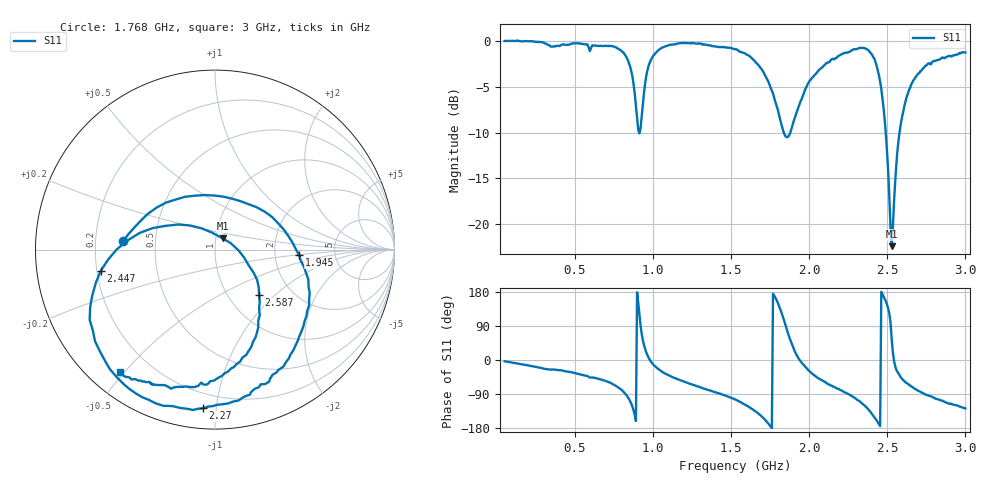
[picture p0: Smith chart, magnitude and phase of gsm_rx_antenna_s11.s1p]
! nanovna_capture.py 2026-10-18T20:22:30+0900
! NanoVNA-F_V2 fw 0.6.0 SN 4A3639384505514B
! cal: load open short thru cal'ed  over 50000000-3000000000 Hz, 201 points
! points 401, avg 4
! GSM 'BTS' antenna (receive antenna for S21 tests) on port-1 cable, held in free air
# HZ S RI R 50
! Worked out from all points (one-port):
!   401 points, 50 MHz to 3 GHz, reference 50 ohm
!   lowest |S11| = -22.4 dB at 2.528 GHz (marker M1), VSWR 1.16, Z = 54 + j6.85 ohm
!   |S11| at or under -10 dB: 911.2788 MHz to 914.0651 MHz (2.786 MHz wide, 0.305 % of centre); 1.838 GHz to 1.879 GHz (41.88 MHz wide, 2.25 % of centre); 2.49 GHz to 2.578 GHz (88.26 MHz wide, 3.48 % of centre)
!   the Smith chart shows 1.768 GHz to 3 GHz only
!   S11 on the Smith chart (normalised r, x): 1.768 GHz: 0.32, +0.04; 1.945 GHz: 2.75, -0.22; 2.27 GHz: 0.11, -0.92; 2.447 GHz: 0.22, -0.09; 2.587 GHz: 1.38, -0.80; 3 GHz: 0.09, -0.49
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5e7  0.9969 -0.0592
4.1875e8  0.8451 -0.4451
6.76875e8  0.5707 -0.7463
7.875e8  0.231 -0.8648
8.465e8  -0.1702 -0.7333
8.83375e8  -0.426 -0.2865
9.12875e8  -0.1577 0.2705
9.35e8  0.2755 0.359
9.645e8  0.6746 0.1504
9.94e8  0.7991 -0.1156
1.15625e9  0.6164 -0.7455
1.525e9  -0.2193 -0.873
1.679875e9  -0.5841 -0.4379
1.768375e9  -0.5136 0.0459
1.827375e9  -0.1666 0.2943
1.89375e9  0.2764 0.2116
1.945375e9  0.4688 -0.031
2.107625e9  0.3803 -0.6526
2.2625e9  -0.0368 -0.8744
2.269875e9  -0.0685 -0.8843
2.36575e9  -0.5094 -0.7488
2.446875e9  -0.6368 -0.1189
2.48375e9  -0.3485 0.1195
2.528e9  0.0423 0.0631
2.587e9  0.2458 -0.2549
2.63125e9  0.2351 -0.4578
2.756625e9  -0.0361 -0.7455
3e9  -0.5283 -0.6844
